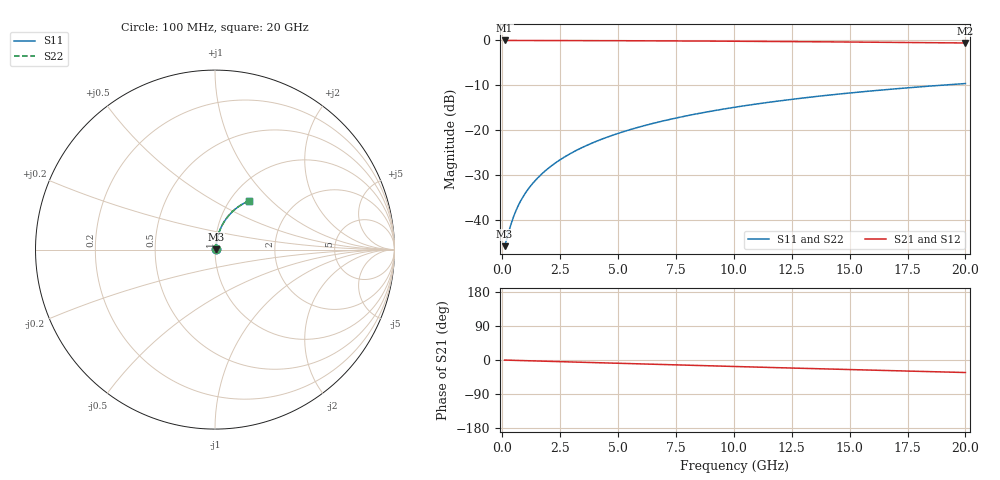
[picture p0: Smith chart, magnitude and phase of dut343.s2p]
! Touchstone file exported from HFSS 2026.1.0
!  File:  C:/ffzhzh/LocalFiles/Ansys_Project_Files/temp_train_TMRDL_343_1783003864_55676.aedt
!  Generated:  10:52:26 PM Jul  2, 2026
!  Design:  TMRDL
!  Project:  temp_train_TMRDL_343_1783003864_55676
! Variables:
!  h_bsmrdl = 2um
!  h_ox = 20um
!  h_rdl = 5um
!  h_sub = 80um
!  h_tmrdl = 2.07um
!  h_tsv = 80um
!  h_via = 3um
!  l_bsmrdl = 300um
!  l_sub = 853.31um
!  l_tmrdl = 453.31um
!  m_sub = 200um
!  pitch = 39.46um
!  r_tsv = 6um
!  s_tmrdl = 10um
!  w_bsmrdl = 18um
!  w_sub = 500um
!  w_tmrdl = 17.36um
!  x_tsv_center1 = 461.99um
!  x_tsv_center2 = 779.99um
!  x_tsv_center3 = 1250.66um
!  x_tsv_center4 = 1568.66um
!  x_tsv_center5 = 2039.33um
!  x_tsv_center6 = 2357.33um
# GHz S MA R 50.000000
! Terminal data exported
! Port[1] = TM_RDL1_1_T1
! Port[2] = TM_RDL1_1_T2
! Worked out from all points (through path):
!   200 points, 100 MHz to 20 GHz, reference 50 ohm
!   highest |S21| = -0.04 dB at 100 MHz (marker M1); lowest = -0.6 dB at 20 GHz (marker M2)
!   group delay of S21, straight-line fit = 4.6 ps
!   lowest |S11| = -45.8 dB at 100 MHz (marker M3), VSWR 1.01, Z = 50.5 + j0.204 ohm
!   |S11| at or under -10 dB: start of sweep to 18.94 GHz
!   |S22| runs from -45.8 to -9.6 dB; largest |S21 - S12| = 3.5e-15
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0.1  0.005155 23.1  0.9953 -0.2  0.9953 -0.2  0.005155 23.1
! Gamma 0 0 0 0
! Port Impedance 50 0 50 0
0.4  0.009452 57.3  0.995 -0.7  0.995 -0.7  0.009452 57.3
0.5  0.01119 61.8  0.9948 -0.9  0.9948 -0.9  0.01119 61.8
0.6  0.01296 65.1  0.9947 -1.1  0.9947 -1.1  0.01296 65.1
0.7  0.01474 67.4  0.9945 -1.3  0.9945 -1.3  0.01474 67.4
0.9  0.01831 70.7  0.9943 -1.6  0.9943 -1.6  0.01831 70.7
1.2  0.02367 73.7  0.994 -2.1  0.994 -2.1  0.02367 73.8
1.4  0.02725 75.1  0.9938 -2.5  0.9938 -2.5  0.02725 75.1
1.7  0.03264 76.4  0.9935 -3.0  0.9935 -3.0  0.03264 76.4
2.2  0.04166 77.7  0.993 -3.8  0.993 -3.8  0.04166 77.7
2.8  0.05253 78.2  0.9924 -4.9  0.9924 -4.9  0.05253 78.3
3.5  0.06523 78.3  0.9915 -6.1  0.9915 -6.1  0.06523 78.3
4.2  0.07791 77.9  0.9905 -7.3  0.9905 -7.3  0.07791 77.9
5  0.09233 77.2  0.9891 -8.7  0.9891 -8.7  0.09233 77.2
5.9  0.1084 76.1  0.9872 -10.2  0.9872 -10.2  0.1084 76.2
6.8  0.1244 75.0  0.9852 -11.7  0.9852 -11.7  0.1244 75.0
8.3  0.1506 72.9  0.9812 -14.3  0.9812 -14.3  0.1506 72.9
10.1  0.1813 70.2  0.9755 -17.3  0.9755 -17.3  0.1813 70.2
11.7  0.2077 67.7  0.9698 -19.9  0.9698 -19.9  0.2077 67.8
13.4  0.2349 65.1  0.9632 -22.7  0.9632 -22.7  0.2349 65.2
16.7  0.2847 60.0  0.9489 -28.0  0.9489 -28.0  0.2847 60.1
20  0.3304 55.1  0.9333 -33.0  0.9333 -33.0  0.3304 55.2
